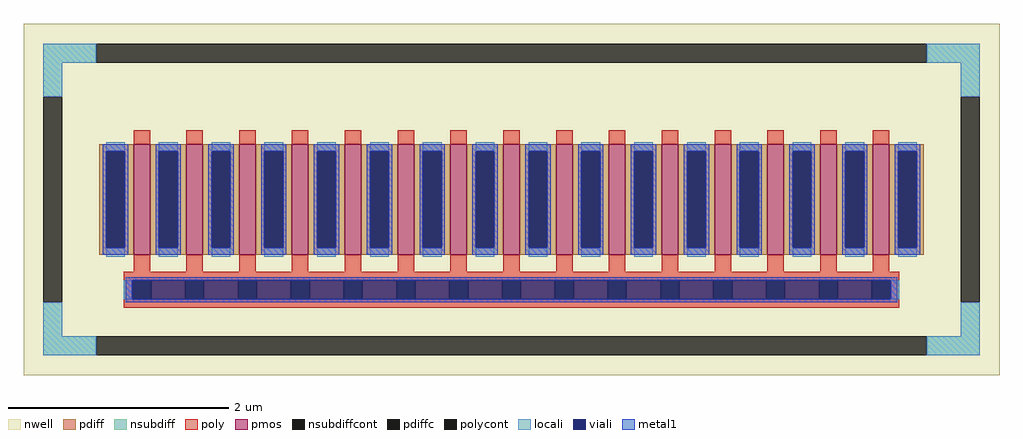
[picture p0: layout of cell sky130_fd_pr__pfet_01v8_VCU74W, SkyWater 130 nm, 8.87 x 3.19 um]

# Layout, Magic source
magic
tech sky130A
magscale 1 2
<< nwell >>
rect -887 -319 887 319
<< pmos >>
rect -687 -100 -657 100
rect -591 -100 -561 100
rect -495 -100 -465 100
rect -399 -100 -369 100
rect -303 -100 -273 100
rect -207 -100 -177 100
rect -111 -100 -81 100
rect -15 -100 15 100
rect 81 -100 111 100
rect 177 -100 207 100
rect 273 -100 303 100
rect 369 -100 399 100
rect 465 -100 495 100
rect 561 -100 591 100
rect 657 -100 687 100
<< pdiff >>
rect -749 88 -687 100
rect -749 -88 -737 88
rect -703 -88 -687 88
rect -749 -100 -687 -88
rect -657 88 -591 100
rect -657 -88 -641 88
rect -607 -88 -591 88
rect -657 -100 -591 -88
rect -561 88 -495 100
rect -561 -88 -545 88
rect -511 -88 -495 88
rect -561 -100 -495 -88
rect -465 88 -399 100
rect -465 -88 -449 88
rect -415 -88 -399 88
rect -465 -100 -399 -88
rect -369 88 -303 100
rect -369 -88 -353 88
rect -319 -88 -303 88
rect -369 -100 -303 -88
rect -273 88 -207 100
rect -273 -88 -257 88
rect -223 -88 -207 88
rect -273 -100 -207 -88
rect -177 88 -111 100
rect -177 -88 -161 88
rect -127 -88 -111 88
rect -177 -100 -111 -88
rect -81 88 -15 100
rect -81 -88 -65 88
rect -31 -88 -15 88
rect -81 -100 -15 -88
rect 15 88 81 100
rect 15 -88 31 88
rect 65 -88 81 88
rect 15 -100 81 -88
rect 111 88 177 100
rect 111 -88 127 88
rect 161 -88 177 88
rect 111 -100 177 -88
rect 207 88 273 100
rect 207 -88 223 88
rect 257 -88 273 88
rect 207 -100 273 -88
rect 303 88 369 100
rect 303 -88 319 88
rect 353 -88 369 88
rect 303 -100 369 -88
rect 399 88 465 100
rect 399 -88 415 88
rect 449 -88 465 88
rect 399 -100 465 -88
rect 495 88 561 100
rect 495 -88 511 88
rect 545 -88 561 88
rect 495 -100 561 -88
rect 591 88 657 100
rect 591 -88 607 88
rect 641 -88 657 88
rect 591 -100 657 -88
rect 687 88 749 100
rect 687 -88 703 88
rect 737 -88 749 88
rect 687 -100 749 -88
<< pdiffc >>
rect -737 -88 -703 88
rect -641 -88 -607 88
rect -545 -88 -511 88
rect -449 -88 -415 88
rect -353 -88 -319 88
rect -257 -88 -223 88
rect -161 -88 -127 88
rect -65 -88 -31 88
rect 31 -88 65 88
rect 127 -88 161 88
rect 223 -88 257 88
rect 319 -88 353 88
rect 415 -88 449 88
rect 511 -88 545 88
rect 607 -88 641 88
rect 703 -88 737 88
<< nsubdiff >>
rect -851 249 -755 283
rect 755 249 851 283
rect -851 187 -817 249
rect 817 187 851 249
rect -851 -249 -817 -187
rect 817 -249 851 -187
rect -851 -283 -755 -249
rect 755 -283 851 -249
<< nsubdiffcont >>
rect -755 249 755 283
rect -851 -187 -817 187
rect 817 -187 851 187
rect -755 -283 755 -249
<< poly >>
rect -687 100 -657 126
rect -591 100 -561 126
rect -495 100 -465 126
rect -399 100 -369 126
rect -303 100 -273 126
rect -207 100 -177 126
rect -111 100 -81 126
rect -15 100 15 126
rect 81 100 111 126
rect 177 100 207 126
rect 273 100 303 126
rect 369 100 399 126
rect 465 100 495 126
rect 561 100 591 126
rect 657 100 687 126
rect -687 -131 -657 -100
rect -591 -131 -561 -100
rect -495 -131 -465 -100
rect -399 -131 -369 -100
rect -303 -131 -273 -100
rect -207 -131 -177 -100
rect -111 -131 -81 -100
rect -15 -131 15 -100
rect 81 -131 111 -100
rect 177 -131 207 -100
rect 273 -131 303 -100
rect 369 -131 399 -100
rect 465 -131 495 -100
rect 561 -131 591 -100
rect 657 -131 687 -100
rect -705 -147 705 -131
rect -705 -181 -689 -147
rect -655 -181 -593 -147
rect -559 -181 -497 -147
rect -463 -181 -401 -147
rect -367 -181 -305 -147
rect -271 -181 -209 -147
rect -175 -181 -113 -147
rect -79 -181 -17 -147
rect 17 -181 79 -147
rect 113 -181 175 -147
rect 209 -181 271 -147
rect 305 -181 367 -147
rect 401 -181 463 -147
rect 497 -181 559 -147
rect 593 -181 655 -147
rect 689 -181 705 -147
rect -705 -197 705 -181
<< polycont >>
rect -689 -181 -655 -147
rect -593 -181 -559 -147
rect -497 -181 -463 -147
rect -401 -181 -367 -147
rect -305 -181 -271 -147
rect -209 -181 -175 -147
rect -113 -181 -79 -147
rect -17 -181 17 -147
rect 79 -181 113 -147
rect 175 -181 209 -147
rect 271 -181 305 -147
rect 367 -181 401 -147
rect 463 -181 497 -147
rect 559 -181 593 -147
rect 655 -181 689 -147
<< locali >>
rect -851 249 -755 283
rect 755 249 851 283
rect -851 187 -817 249
rect 817 187 851 249
rect -737 88 -703 104
rect -737 -104 -703 -88
rect -641 88 -607 104
rect -641 -104 -607 -88
rect -545 88 -511 104
rect -545 -104 -511 -88
rect -449 88 -415 104
rect -449 -104 -415 -88
rect -353 88 -319 104
rect -353 -104 -319 -88
rect -257 88 -223 104
rect -257 -104 -223 -88
rect -161 88 -127 104
rect -161 -104 -127 -88
rect -65 88 -31 104
rect -65 -104 -31 -88
rect 31 88 65 104
rect 31 -104 65 -88
rect 127 88 161 104
rect 127 -104 161 -88
rect 223 88 257 104
rect 223 -104 257 -88
rect 319 88 353 104
rect 319 -104 353 -88
rect 415 88 449 104
rect 415 -104 449 -88
rect 511 88 545 104
rect 511 -104 545 -88
rect 607 88 641 104
rect 607 -104 641 -88
rect 703 88 737 104
rect 703 -104 737 -88
rect -705 -181 -689 -147
rect 689 -181 705 -147
rect -851 -249 -817 -187
rect 817 -249 851 -187
rect -851 -283 -755 -249
rect 755 -283 851 -249
<< viali >>
rect -737 -88 -703 88
rect -641 -88 -607 88
rect -545 -88 -511 88
rect -449 -88 -415 88
rect -353 -88 -319 88
rect -257 -88 -223 88
rect -161 -88 -127 88
rect -65 -88 -31 88
rect 31 -88 65 88
rect 127 -88 161 88
rect 223 -88 257 88
rect 319 -88 353 88
rect 415 -88 449 88
rect 511 -88 545 88
rect 607 -88 641 88
rect 703 -88 737 88
rect -689 -181 -655 -147
rect -655 -181 -593 -147
rect -593 -181 -559 -147
rect -559 -181 -497 -147
rect -497 -181 -463 -147
rect -463 -181 -401 -147
rect -401 -181 -367 -147
rect -367 -181 -305 -147
rect -305 -181 -271 -147
rect -271 -181 -209 -147
rect -209 -181 -175 -147
rect -175 -181 -113 -147
rect -113 -181 -79 -147
rect -79 -181 -17 -147
rect -17 -181 17 -147
rect 17 -181 79 -147
rect 79 -181 113 -147
rect 113 -181 175 -147
rect 175 -181 209 -147
rect 209 -181 271 -147
rect 271 -181 305 -147
rect 305 -181 367 -147
rect 367 -181 401 -147
rect 401 -181 463 -147
rect 463 -181 497 -147
rect 497 -181 559 -147
rect 559 -181 593 -147
rect 593 -181 655 -147
rect 655 -181 689 -147
<< metal1 >>
rect -743 88 -697 100
rect -743 -88 -737 88
rect -703 -88 -697 88
rect -743 -100 -697 -88
rect -647 88 -601 100
rect -647 -88 -641 88
rect -607 -88 -601 88
rect -647 -100 -601 -88
rect -551 88 -505 100
rect -551 -88 -545 88
rect -511 -88 -505 88
rect -551 -100 -505 -88
rect -455 88 -409 100
rect -455 -88 -449 88
rect -415 -88 -409 88
rect -455 -100 -409 -88
rect -359 88 -313 100
rect -359 -88 -353 88
rect -319 -88 -313 88
rect -359 -100 -313 -88
rect -263 88 -217 100
rect -263 -88 -257 88
rect -223 -88 -217 88
rect -263 -100 -217 -88
rect -167 88 -121 100
rect -167 -88 -161 88
rect -127 -88 -121 88
rect -167 -100 -121 -88
rect -71 88 -25 100
rect -71 -88 -65 88
rect -31 -88 -25 88
rect -71 -100 -25 -88
rect 25 88 71 100
rect 25 -88 31 88
rect 65 -88 71 88
rect 25 -100 71 -88
rect 121 88 167 100
rect 121 -88 127 88
rect 161 -88 167 88
rect 121 -100 167 -88
rect 217 88 263 100
rect 217 -88 223 88
rect 257 -88 263 88
rect 217 -100 263 -88
rect 313 88 359 100
rect 313 -88 319 88
rect 353 -88 359 88
rect 313 -100 359 -88
rect 409 88 455 100
rect 409 -88 415 88
rect 449 -88 455 88
rect 409 -100 455 -88
rect 505 88 551 100
rect 505 -88 511 88
rect 545 -88 551 88
rect 505 -100 551 -88
rect 601 88 647 100
rect 601 -88 607 88
rect 641 -88 647 88
rect 601 -100 647 -88
rect 697 88 743 100
rect 697 -88 703 88
rect 737 -88 743 88
rect 697 -100 743 -88
rect -701 -147 701 -141
rect -701 -181 -689 -147
rect 689 -181 701 -147
rect -701 -187 701 -181
<< properties >>
string gencell sky130_fd_pr__pfet_01v8
string FIXED_BBOX -834 -266 834 266
string parameters w 1 l 0.15 m 1 nf 15 diffcov 100 polycov 100 guard 1 glc 1 grc 1 gtc 1 gbc 1 tbcov 100 rlcov 100 topc 1 botc 1 poverlap 0 doverlap 1 lmin 0.15 wmin 0.42 compatible {sky130_fd_pr__pfet_01v8  sky130_fd_pr__pfet_01v8_lvt sky130_fd_pr__pfet_01v8_hvt  sky130_fd_pr__pfet_g5v0d10v5} full_metal 1 viasrc 100 viadrn 100 viagate 100 viagb 0 viagr 0 viagl 0 viagt 0
string library sky130
<< end >>
